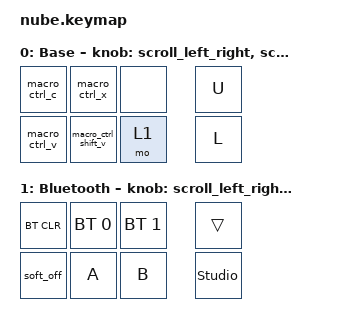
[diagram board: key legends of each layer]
// This file was generated from a template. Edit it to match your keyboard.
// See https://zmk.dev/docs/development/hardware-integration/new-shield for more instructions.

#include <behaviors.dtsi>
#include <dt-bindings/zmk/keys.h>
#include <dt-bindings/zmk/bt.h>

#define ZMK_POINTING_DEFAULT_SCRL_VAL 100    // default: 10

#include <dt-bindings/zmk/pointing.h>

/ {
  behaviors {
    scroll_up_down: behavior_sensor_rotate_mouse_wheel_up_down {
      compatible = "zmk,behavior-sensor-rotate";
      #sensor-binding-cells = <0>;
      bindings = <&msc SCRL_UP>, <&msc SCRL_DOWN>;
      tap-ms = <20>;
    };

    scroll_left_right: behavior_sensor_rotate_mouse_wheel_left_right {
      compatible = "zmk,behavior-sensor-rotate";
      #sensor-binding-cells = <0>;
      bindings = <&msc SCRL_LEFT>, <&msc SCRL_RIGHT>;
      tap-ms = <20>;
    };

  };
};

&soft_off {
    hold-time-ms = <3000>;
};

/ {
    macros {
        macro_ctrl_c: macro_ctrl_c {
            compatible = "zmk,behavior-macro";
            #binding-cells = <0>;
            bindings = <&macro_press &kp LCTRL>,
                       <&macro_tap &kp C>,
                       <&macro_release &kp LCTRL>;
        };

        macro_ctrl_x: macro_ctrl_x {
            compatible = "zmk,behavior-macro";
            #binding-cells = <0>;
            bindings = <&macro_press &kp LCTRL>,
                       <&macro_tap &kp X>,
                       <&macro_release &kp LCTRL>;
        };

        macro_ctrl_v: macro_ctrl_v {
            compatible = "zmk,behavior-macro";
            #binding-cells = <0>;
            bindings = <&macro_press &kp LCTRL>,
                       <&macro_tap &kp V>,
                       <&macro_release &kp LCTRL>;
        };

        macro_ctrl_shift_v: macro_ctrl_shift_v {
            compatible = "zmk,behavior-macro";
            #binding-cells = <0>;
            bindings = <&macro_press &kp LCTRL>,
                       <&macro_press &kp LSHIFT>,
                       <&macro_tap &kp V>,
                       <&macro_release &kp LSHIFT>,
                       <&macro_release &kp LCTRL>;
        };
    };
};


/ {
    // Define a default keymap here.
    // See https://zmk.dev/docs/development/hardware-integration/new-shield#default-keymap.
    keymap {
        compatible = "zmk,keymap";

        default_layer {
            display-name = "Base";

            bindings = <
                &macro_ctrl_c    &macro_ctrl_x          &none    &kp U
                &macro_ctrl_v    &macro_ctrl_shift_v    &mo 1    &kp L
            >;
            sensor-bindings = <&scroll_left_right &scroll_up_down>;
        };

        bluetooth_layer {
            display-name = "Bluetooth";

            bindings = <
                &bt BT_CLR    &bt BT_SEL 0    &bt BT_SEL 1    &trans
                &soft_off     &kp A           &kp B           &studio_unlock
            >;
            sensor-bindings = <&scroll_left_right &scroll_up_down>;
        };

        extra1 {
            status = "reserved";
        };

        extra2 {
            status = "reserved";
        };
    };
};
